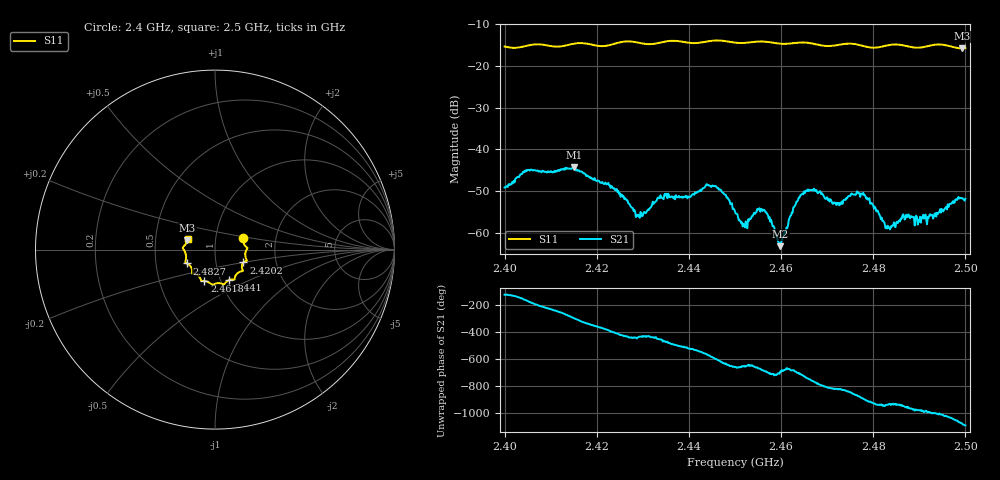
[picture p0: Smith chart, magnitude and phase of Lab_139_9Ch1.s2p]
# Hz S RI R 50
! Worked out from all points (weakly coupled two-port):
!   601 points, 2.4 GHz to 2.5 GHz, reference 50 ohm
!   highest |S21| = -44.38 dB at 2.415 GHz (marker M1); lowest = -63.3 dB at 2.4598 GHz (marker M2)
!   lowest |S11| = -15.8 dB at 2.4993 GHz (marker M3), VSWR 1.39, Z = 36.5 + j3.84 ohm
!   |S11| at or under -10 dB: start of sweep to end of sweep
!   S12 and S22 are empty: the file has one direction only
!   S11 on the Smith chart (normalised r, x): 2.4 GHz: 1.36, +0.18; 2.4202 GHz: 1.36, -0.20; 2.441 GHz: 1.10, -0.39; 2.4618 GHz: 0.84, -0.30; 2.4827 GHz: 0.72, -0.12; 2.5 GHz: 0.73, +0.09
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2.4e9  0.1586 0.0628  -0.00208 -0.00278  0 0  0 0
2.404833e9  0.1736 0.0146  -0.00542 -0.000965  0 0  0 0
2.415e9  0.1754 -0.0558  0.00305 0.00521  0 0  0 0
2.416667e9  0.1772 -0.0612  0.00439 0.00314  0 0  0 0
2.420167e9  0.1585 -0.0714  0.00421 -0.000197  0 0  0 0
2.428833e9  0.147 -0.1209  0.000155 -0.00159  0 0  0 0
2.433333e9  0.1116 -0.1508  -0.00017 -0.00264  0 0  0 0
2.441e9  0.0785 -0.1699  -0.00286 -0.00048  0 0  0 0
2.445667e9  0.0508 -0.1946  -0.00178 0.00316  0 0  0 0
2.45e9  0.0285 -0.1876  0.000946 0.00151  0 0  0 0
2.452167e9  0.00669 -0.1882  0.000554 0.00101  0 0  0 0
2.456167e9  -0.0167 -0.1946  0.00158 0.00101  0 0  0 0
2.459833e9  -0.0396 -0.18  0.00062 0.000297  0 0  0 0
2.461833e9  -0.059 -0.1755  0.00109 0.00102  0 0  0 0
2.464167e9  -0.0739 -0.1753  0.00277 0.000307  0 0  0 0
2.466667e9  -0.0787 -0.1684  0.00236 -0.0022  0 0  0 0
2.4725e9  -0.117 -0.1346  -0.000541 -0.0022  0 0  0 0
2.477833e9  -0.127 -0.1171  -0.00299 -0.000233  0 0  0 0
2.482667e9  -0.1559 -0.0773  -0.000837 0.000756  0 0  0 0
2.483333e9  -0.1603 -0.0752  -0.000882 0.000708  0 0  0 0
2.499333e9  -0.1539 0.0512  0.00259 -0.000111  0 0  0 0
2.5e9  -0.1521 0.0606  0.00248 -0.000583  0 0  0 0
